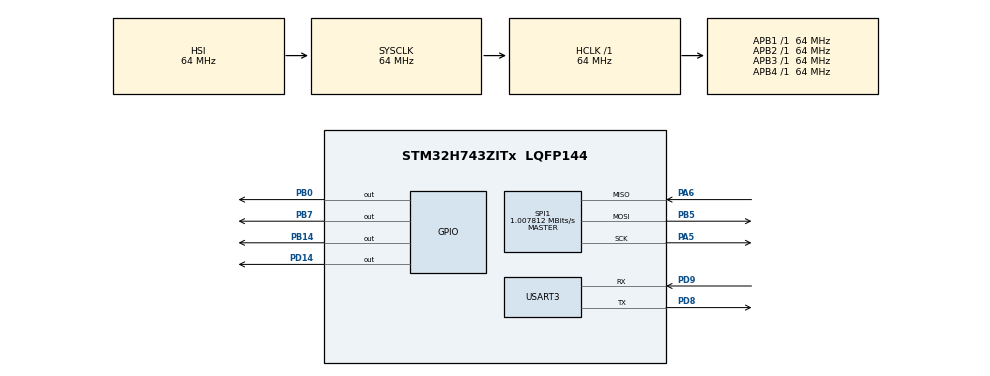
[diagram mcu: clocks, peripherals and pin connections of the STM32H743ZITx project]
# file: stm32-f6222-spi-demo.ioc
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CORTEX_M7.default_mode_Activation=1
Mcu.Family=STM32H7
Mcu.Name=STM32H743ZITx
Mcu.Package=LQFP144
NVIC.PriorityGroup=NVIC_PRIORITYGROUP_4
PA13\ (JTMS/SWDIO).Mode=Serial_Wire
PA13\ (JTMS/SWDIO).Signal=DEBUG_JTMS-SWDIO
PA14\ (JTCK/SWCLK).Mode=Serial_Wire
PA14\ (JTCK/SWCLK).Signal=DEBUG_JTCK-SWCLK
PA5.Mode=Full_Duplex_Master
PA5.Signal=SPI1_SCK
PA6.Mode=Full_Duplex_Master
PA6.Signal=SPI1_MISO
PB0.Signal=GPIO_Output
PB14.Signal=GPIO_Output
PB5.Mode=Full_Duplex_Master
PB5.Signal=SPI1_MOSI
PB7.Signal=GPIO_Output
PD14.PinState=GPIO_PIN_SET
PD14.Signal=GPIO_Output
PD8.Mode=Asynchronous
PD8.Signal=USART3_TX
PD9.Mode=Asynchronous
PD9.Signal=USART3_RX
PH0-OSC_IN\ (PH0).Mode=HSE-External-Oscillator
PH0-OSC_IN\ (PH0).Signal=RCC_OSC_IN
PH1-OSC_OUT\ (PH1).Mode=HSE-External-Oscillator
PH1-OSC_OUT\ (PH1).Signal=RCC_OSC_OUT
ProjectManager.HeapSize=0x200
ProjectManager.StackSize=0x400
ProjectManager.TargetToolchain=Makefile
RCC.ADCFreq_Value=129000000
RCC.APB1Freq_Value=64000000
RCC.APB2Freq_Value=64000000
RCC.APB3Freq_Value=64000000
RCC.APB4Freq_Value=64000000
RCC.CortexFreq_Value=64000000
RCC.HCLKFreq_Value=64000000
RCC.SYSCLKFreq_VALUE=64000000
RCC.USBFreq_Value=129000000
SPI1.BaudRatePrescaler=SPI_BAUDRATEPRESCALER_128
SPI1.CalculateBaudRate=1.007812 MBits/s
SPI1.DataSize=SPI_DATASIZE_8BIT
SPI1.Direction=SPI_DIRECTION_2LINES
SPI1.Mode=SPI_MODE_MASTER
SPI1.VirtualType=VM_MASTER
USART3.VirtualMode-Asynchronous=VM_ASYNC
VP_MEMORYMAP_VS_MEMORYMAP.Mode=CurAppReg
board=custom

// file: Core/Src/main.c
/* USER CODE BEGIN Header */
/**
 ******************************************************************************
 * @file           : main.c
 * @brief          : Main program body
 ******************************************************************************
 * @attention
 *
 * Copyright (c) 2026 STMicroelectronics.
 * All rights reserved.
 *
 * This software is licensed under terms that can be found in the LICENSE file
 * in the root directory of this software component.
 * If no LICENSE file comes with this software, it is provided AS-IS.
 *
 ******************************************************************************
 */
/* USER CODE END Header */
#include "main.h"

/* USER CODE BEGIN Includes */
#include <stdbool.h>
#include <stdio.h>

#include "f6222.h"
#include "f6222_spi_stm32.h"
/* USER CODE END Includes */

SPI_HandleTypeDef hspi1;

UART_HandleTypeDef huart3;

/* USER CODE BEGIN PV */
f6222_dev_t f6222_dev;
f6222_spi_stm32_t f6222_spi = {
    .hspi = &hspi1,
    .cs_gpio_port = GPIOD,
    .cs_pin = GPIO_PIN_14,
    .timeout_ms = 100,
};
/* USER CODE END PV */

void SystemClock_Config(void);
static void MPU_Config(void);
static void MX_GPIO_Init(void);
static void MX_SPI1_Init(void);
static void MX_USART3_UART_Init(void);

/* USER CODE BEGIN 0 */
int __io_putchar(int ch) {
    uint8_t c = (uint8_t)ch;
    HAL_UART_Transmit(&huart3, &c, 1, HAL_MAX_DELAY);
    return ch;
}
/* USER CODE END 0 */

int main(void) {

    /* MPU Configuration--------------------------------------------------------*/
    MPU_Config();

    /* MCU Configuration--------------------------------------------------------*/

    /* Reset of all peripherals, Initializes the Flash interface and the Systick. */
    HAL_Init();

    /* Configure the system clock */
    SystemClock_Config();

    /* Initialize all configured peripherals */
    MX_GPIO_Init();
    MX_SPI1_Init();
    MX_USART3_UART_Init();
    /* USER CODE BEGIN 2 */
    // Bind f6222_dev to STM32 HAL SPI1
    f6222_spi_stm32_bind(&f6222_dev, &f6222_spi);
    // Power-on init: wait_ready, scratch_test, GUI register pattern
    if (f6222_init(&f6222_dev, 0) != F6222_OK) {
        printf("f6222_init fail\r\n");
    }
    printf("f6222_init OK\r\n");
    // Clear GLOBAL_PWD in CTRL_CFG (0x00 = 0x0000)
    if (f6222_local_reg_write(&f6222_dev, F6222_RF_LOAD_IMMEDIATE, 0, F6222_REG_CTRL_CFG, 0x0000u) != F6222_OK) {
        printf("set ch fail\r\n");
    }
    // PTAT_BIAS_CFG: internal bandgap, MB_EN=1, PTAT mode (F6222_PTAT_BIAS_CFG_TYPICAL)
    if (f6222_local_reg_write(&f6222_dev, F6222_RF_LOAD_IMMEDIATE, 0, F6222_REG_PTAT_BIAS_CFG,
                              F6222_PTAT_BIAS_CFG_TYPICAL) != F6222_OK) {
        printf("set ch fail\r\n");
    }
    /* USER CODE END 2 */

    /* Infinite loop */
    /* USER CODE BEGIN WHILE */
    bool ff = true;
    uint16_t temp_raw = 0;
    float temp_c = 0.0;

    while (1) {
        /* USER CODE END WHILE */

        /* USER CODE BEGIN 3 */
        ff = !ff;
        HAL_GPIO_TogglePin(GPIOB, GPIO_PIN_0 | GPIO_PIN_7 | GPIO_PIN_14);
        for (int i = 0; i < 4; i++) {
            if (f6222_set_channel_enable(&f6222_dev, F6222_RF_LOAD_IMMEDIATE, 0, i + 1, ff) != F6222_OK) {
                printf("set ch fail\r\n");
            }
        }
        if (f6222_read_temp(&f6222_dev, 0, &temp_raw, &temp_c) != F6222_OK) {
            printf("temp read fail\r\n");
        }
        printf("temp_raw = %d\r\n", temp_raw);
        int32_t t_x100 = ((int32_t)(temp_raw - F6222_TEMP_C0) * 83.333333333333) + (int32_t)(F6222_TEMP_T0_C * 100.0f);
        printf("temp_c = %ld.%02ld\r\n", t_x100 / 100, t_x100 % 100);

        HAL_Delay(500);
    }
    /* USER CODE END 3 */
}

void SystemClock_Config(void) {
    RCC_OscInitTypeDef RCC_OscInitStruct = {0};
    RCC_ClkInitTypeDef RCC_ClkInitStruct = {0};

    /** Supply configuration update enable
     */
    HAL_PWREx_ConfigSupply(PWR_LDO_SUPPLY);

    /** Configure the main internal regulator output voltage
     */
    __HAL_PWR_VOLTAGESCALING_CONFIG(PWR_REGULATOR_VOLTAGE_SCALE3);

    while (!__HAL_PWR_GET_FLAG(PWR_FLAG_VOSRDY)) {
    }

    /** Initializes the RCC Oscillators according to the specified parameters
     * in the RCC_OscInitTypeDef structure.
     */
    RCC_OscInitStruct.OscillatorType = RCC_OSCILLATORTYPE_HSI;
    RCC_OscInitStruct.HSIState = RCC_HSI_DIV1;
    RCC_OscInitStruct.HSICalibrationValue = RCC_HSICALIBRATION_DEFAULT;
    RCC_OscInitStruct.PLL.PLLState = RCC_PLL_ON;
    RCC_OscInitStruct.PLL.PLLSource = RCC_PLLSOURCE_HSI;
    RCC_OscInitStruct.PLL.PLLM = 32;
    RCC_OscInitStruct.PLL.PLLN = 129;
    RCC_OscInitStruct.PLL.PLLP = 2;
    RCC_OscInitStruct.PLL.PLLQ = 2;
    RCC_OscInitStruct.PLL.PLLR = 2;
    RCC_OscInitStruct.PLL.PLLRGE = RCC_PLL1VCIRANGE_1;
    RCC_OscInitStruct.PLL.PLLVCOSEL = RCC_PLL1VCOWIDE;
    RCC_OscInitStruct.PLL.PLLFRACN = 0;
    if (HAL_RCC_OscConfig(&RCC_OscInitStruct) != HAL_OK) {
        Error_Handler();
    }

    /** Initializes the CPU, AHB and APB buses clocks
     */
    RCC_ClkInitStruct.ClockType = RCC_CLOCKTYPE_HCLK | RCC_CLOCKTYPE_SYSCLK | RCC_CLOCKTYPE_PCLK1 |
                                  RCC_CLOCKTYPE_PCLK2 | RCC_CLOCKTYPE_D3PCLK1 | RCC_CLOCKTYPE_D1PCLK1;
    RCC_ClkInitStruct.SYSCLKSource = RCC_SYSCLKSOURCE_HSI;
    RCC_ClkInitStruct.SYSCLKDivider = RCC_SYSCLK_DIV1;
    RCC_ClkInitStruct.AHBCLKDivider = RCC_HCLK_DIV1;
    RCC_ClkInitStruct.APB3CLKDivider = RCC_APB3_DIV1;
    RCC_ClkInitStruct.APB1CLKDivider = RCC_APB1_DIV1;
    RCC_ClkInitStruct.APB2CLKDivider = RCC_APB2_DIV1;
    RCC_ClkInitStruct.APB4CLKDivider = RCC_APB4_DIV1;

    if (HAL_RCC_ClockConfig(&RCC_ClkInitStruct, FLASH_LATENCY_1) != HAL_OK) {
        Error_Handler();
    }
}

static void MX_SPI1_Init(void) {

    /* SPI1 parameter configuration*/
    hspi1.Instance = SPI1;
    hspi1.Init.Mode = SPI_MODE_MASTER;
    hspi1.Init.Direction = SPI_DIRECTION_2LINES;
    hspi1.Init.DataSize = SPI_DATASIZE_8BIT;
    hspi1.Init.CLKPolarity = SPI_POLARITY_LOW;
    hspi1.Init.CLKPhase = SPI_PHASE_1EDGE;
    hspi1.Init.NSS = SPI_NSS_SOFT;
    hspi1.Init.BaudRatePrescaler = SPI_BAUDRATEPRESCALER_128;
    hspi1.Init.FirstBit = SPI_FIRSTBIT_MSB;
    hspi1.Init.TIMode = SPI_TIMODE_DISABLE;
    hspi1.Init.CRCCalculation = SPI_CRCCALCULATION_DISABLE;
    hspi1.Init.CRCPolynomial = 0x0;
    hspi1.Init.NSSPMode = SPI_NSS_PULSE_ENABLE;
    hspi1.Init.NSSPolarity = SPI_NSS_POLARITY_LOW;
    hspi1.Init.FifoThreshold = SPI_FIFO_THRESHOLD_01DATA;
    hspi1.Init.TxCRCInitializationPattern = SPI_CRC_INITIALIZATION_ALL_ZERO_PATTERN;
    hspi1.Init.RxCRCInitializationPattern = SPI_CRC_INITIALIZATION_ALL_ZERO_PATTERN;
    hspi1.Init.MasterSSIdleness = SPI_MASTER_SS_IDLENESS_00CYCLE;
    hspi1.Init.MasterInterDataIdleness = SPI_MASTER_INTERDATA_IDLENESS_00CYCLE;
    hspi1.Init.MasterReceiverAutoSusp = SPI_MASTER_RX_AUTOSUSP_DISABLE;
    hspi1.Init.MasterKeepIOState = SPI_MASTER_KEEP_IO_STATE_DISABLE;
    hspi1.Init.IOSwap = SPI_IO_SWAP_DISABLE;
    if (HAL_SPI_Init(&hspi1) != HAL_OK) {
        Error_Handler();
    }
}

static void MX_USART3_UART_Init(void) {

    huart3.Instance = USART3;
    huart3.Init.BaudRate = 115200;
    huart3.Init.WordLength = UART_WORDLENGTH_8B;
    huart3.Init.StopBits = UART_STOPBITS_1;
    huart3.Init.Parity = UART_PARITY_NONE;
    huart3.Init.Mode = UART_MODE_TX_RX;
    huart3.Init.HwFlowCtl = UART_HWCONTROL_NONE;
    huart3.Init.OverSampling = UART_OVERSAMPLING_16;
    huart3.Init.OneBitSampling = UART_ONE_BIT_SAMPLE_DISABLE;
    huart3.Init.ClockPrescaler = UART_PRESCALER_DIV1;
    huart3.AdvancedInit.AdvFeatureInit = UART_ADVFEATURE_NO_INIT;
    if (HAL_UART_Init(&huart3) != HAL_OK) {
        Error_Handler();
    }
    if (HAL_UARTEx_SetTxFifoThreshold(&huart3, UART_TXFIFO_THRESHOLD_1_8) != HAL_OK) {
        Error_Handler();
    }
    if (HAL_UARTEx_SetRxFifoThreshold(&huart3, UART_RXFIFO_THRESHOLD_1_8) != HAL_OK) {
        Error_Handler();
    }
    if (HAL_UARTEx_DisableFifoMode(&huart3) != HAL_OK) {
        Error_Handler();
    }
}

static void MX_GPIO_Init(void) {
    GPIO_InitTypeDef GPIO_InitStruct = {0};

    /* GPIO Ports Clock Enable */
    __HAL_RCC_GPIOH_CLK_ENABLE();
    __HAL_RCC_GPIOA_CLK_ENABLE();
    __HAL_RCC_GPIOB_CLK_ENABLE();
    __HAL_RCC_GPIOD_CLK_ENABLE();

    /*Configure GPIO pin Output Level */
    HAL_GPIO_WritePin(GPIOB, GPIO_PIN_0 | GPIO_PIN_14 | GPIO_PIN_7, GPIO_PIN_RESET);

    /*Configure GPIO pin Output Level */
    HAL_GPIO_WritePin(GPIOD, GPIO_PIN_14, GPIO_PIN_SET);

    /*Configure GPIO pins : PB0 PB14 PB7 */
    GPIO_InitStruct.Pin = GPIO_PIN_0 | GPIO_PIN_14 | GPIO_PIN_7;
    GPIO_InitStruct.Mode = GPIO_MODE_OUTPUT_PP;
    GPIO_InitStruct.Pull = GPIO_NOPULL;
    GPIO_InitStruct.Speed = GPIO_SPEED_FREQ_LOW;
    HAL_GPIO_Init(GPIOB, &GPIO_InitStruct);

    /*Configure GPIO pin : PD14 */
    GPIO_InitStruct.Pin = GPIO_PIN_14;
    GPIO_InitStruct.Mode = GPIO_MODE_OUTPUT_PP;
    GPIO_InitStruct.Pull = GPIO_NOPULL;
    GPIO_InitStruct.Speed = GPIO_SPEED_FREQ_LOW;
    HAL_GPIO_Init(GPIOD, &GPIO_InitStruct);

}

/* MPU Configuration */

void MPU_Config(void) {
    MPU_Region_InitTypeDef MPU_InitStruct = {0};

    /* Disables the MPU */
    HAL_MPU_Disable();

    /** Initializes and configures the Region and the memory to be protected
     */
    MPU_InitStruct.Enable = MPU_REGION_ENABLE;
    MPU_InitStruct.Number = MPU_REGION_NUMBER0;
    MPU_InitStruct.BaseAddress = 0x0;
    MPU_InitStruct.Size = MPU_REGION_SIZE_4GB;
    MPU_InitStruct.SubRegionDisable = 0x87;
    MPU_InitStruct.TypeExtField = MPU_TEX_LEVEL0;
    MPU_InitStruct.AccessPermission = MPU_REGION_NO_ACCESS;
    MPU_InitStruct.DisableExec = MPU_INSTRUCTION_ACCESS_DISABLE;
    MPU_InitStruct.IsShareable = MPU_ACCESS_SHAREABLE;
    MPU_InitStruct.IsCacheable = MPU_ACCESS_NOT_CACHEABLE;
    MPU_InitStruct.IsBufferable = MPU_ACCESS_NOT_BUFFERABLE;

    HAL_MPU_ConfigRegion(&MPU_InitStruct);
    /* Enables the MPU */
    HAL_MPU_Enable(MPU_PRIVILEGED_DEFAULT);
}

void Error_Handler(void) {
    __disable_irq();
    while (1) {
    }
}
